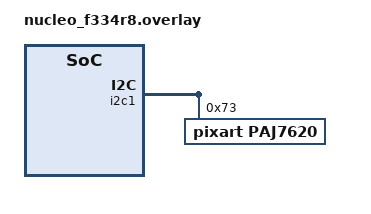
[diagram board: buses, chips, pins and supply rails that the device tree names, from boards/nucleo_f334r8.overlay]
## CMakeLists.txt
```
# Copyright (c) Paul Timke <ptimkec@live.com>
# SPDX-License-Identifier: Apache-2.0

cmake_minimum_required(VERSION 3.20.0)
find_package(Zephyr REQUIRED HINTS $ENV{ZEPHYR_BASE})
project(paj7620_gesture_polling)

FILE(GLOB app_sources src/*.c)
target_sources(app PRIVATE ${app_sources})
```

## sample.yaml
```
sample:
  name: PAJ7620 gesture polling sample
tests:
  sample.sensor.paj7620_gesture_polling:
    build_only: true
    tags: sensors
    platform_allow: nucleo_f334r8
    depends_on: i2c
    filter: dt_compat_enabled("pixart,paj7620")
```

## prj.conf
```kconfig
CONFIG_STDOUT_CONSOLE=y
CONFIG_I2C=y
CONFIG_SENSOR=y
CONFIG_PAJ7620=y
```

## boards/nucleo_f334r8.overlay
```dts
&i2c1 {
	status = "okay";

	paj7620: paj7620@73 {
		compatible = "pixart,paj7620";
		reg = <0x73>;
	};
};
```

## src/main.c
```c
/*
 * Copyright (c) Paul Timke <ptimkec@live.com>
 *
 * SPDX-License-Identifier: Apache-2.0
 */

#include <zephyr/kernel.h>
#include <zephyr/drivers/sensor.h>
#include <zephyr/drivers/sensor/paj7620.h>

#define GESTURE_POLL_TIME_MS 100

static void print_hand_gesture(const struct device *dev)
{
	int ret;
	struct sensor_value data;

	ret = sensor_sample_fetch(dev);
	if (ret < 0) {
		printf("Failed to fetch from device");
		return;
	}

	ret = sensor_channel_get(dev, (enum sensor_channel)SENSOR_CHAN_PAJ7620_GESTURES, &data);
	if (ret < 0) {
		printf("Failed to get channel from device");
		return;
	}

	if ((data.val1 & PAJ7620_FLAG_GES_UP) != 0) {
		printf("Gesture UP\n");
	}
	if ((data.val1 & PAJ7620_FLAG_GES_DOWN) != 0) {
		printf("Gesture DOWN\n");
	}
	if ((data.val1 & PAJ7620_FLAG_GES_LEFT) != 0) {
		printf("Gesture LEFT\n");
	}
	if ((data.val1 & PAJ7620_FLAG_GES_RIGHT) != 0) {
		printf("Gesture RIGHT\n");
	}
	if ((data.val1 & PAJ7620_FLAG_GES_FORWARD) != 0) {
		printf("Gesture FORWARD\n");
	}
	if ((data.val1 & PAJ7620_FLAG_GES_BACKWARD) != 0) {
		printf("Gesture BACKWARD\n");
	}
	if ((data.val1 & PAJ7620_FLAG_GES_CLOCKWISE) != 0) {
		printf("Gesture CLOCKWISE\n");
	}
	if ((data.val1 & PAJ7620_FLAG_GES_COUNTERCLOCKWISE) != 0) {
		printf("Gesture COUNTER CLOCKWISE\n");
	}
}

int main(void)
{
	const struct device *dev = DEVICE_DT_GET_ONE(pixart_paj7620);

	if (!device_is_ready(dev)) {
		printf("Device %s is not ready\n", dev->name);
		return -ENODEV;
	}

	while (1) {
		print_hand_gesture(dev);
		k_msleep(GESTURE_POLL_TIME_MS);
	}

	return 0;
}
```
